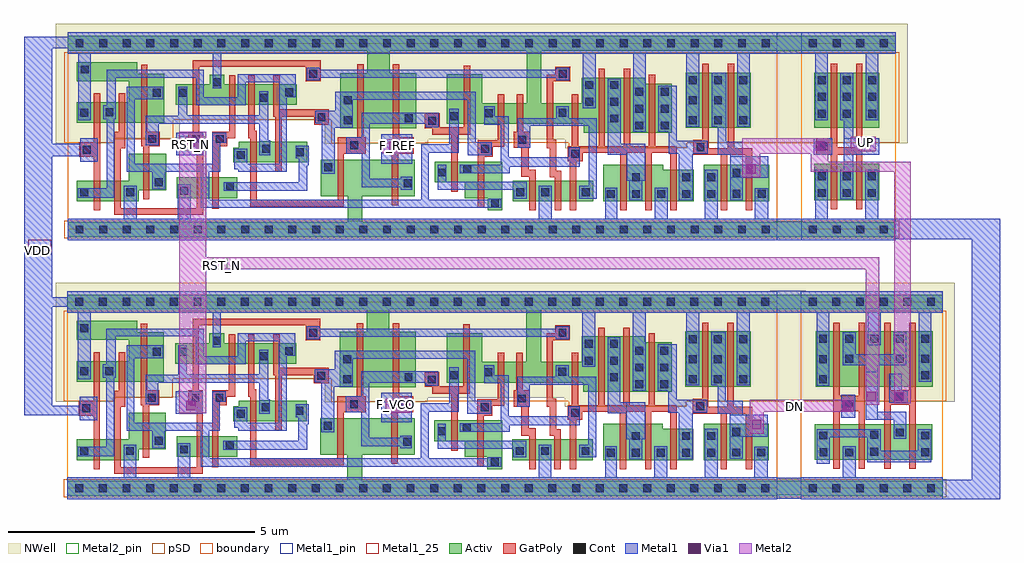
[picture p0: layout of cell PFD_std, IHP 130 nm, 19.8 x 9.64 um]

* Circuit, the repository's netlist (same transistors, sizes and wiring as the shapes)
.SUBCKT PFD_std UP F_REF F_VCO DN VDD VSS

* DFF for reference clock
  x1 net1 net2 F_REF VDD RST_N VDD VSS sg13g2_dfrbp_2

* DFF for VCO clock
  x2 DN net3 F_VCO VDD RST_N VDD VSS sg13g2_dfrbp_2

* Reset logic
  x3 RST_N net1 DN VDD VSS sg13g2_nand2_2

* Output buffer
  x4 UP net1 VDD VSS sg13g2_inv_2

.ENDS

.SUBCKT sg13g2_dfrbp_2 Q Q_N CLK D RESET_B VDD VSS
XN13 net12 net2 VSS VSS sg13_lv_nmos w=420.00n l=130.00n ng=1 ad=1.428e-13 as=1.428e-13 pd=1.52e-06 ps=1.52e-06 m=1
XN14 net5 clkneg net12 VSS sg13_lv_nmos w=420.00n l=130.00n ng=1 ad=1.428e-13 as=1.428e-13 pd=1.52e-06 ps=1.52e-06 m=1
XN15 net2 net5 net11 VSS sg13_lv_nmos w=420.00n l=130.00n ng=1 ad=1.428e-13 as=1.428e-13 pd=1.52e-06 ps=1.52e-06 m=1
XN16 net11 RESET_B VSS VSS sg13_lv_nmos w=420.00n l=130.00n ng=1 ad=1.428e-13 as=1.428e-13 pd=1.52e-06 ps=1.52e-06 m=1
XN6 Q_N net5 VSS VSS sg13_lv_nmos w=1.48u l=130.00n ng=2 ad=2.812e-13 as=5.032e-13 pd=2.24e-06 ps=4.32e-06 m=1
XN0 Db D net10 VSS sg13_lv_nmos w=420.00n l=130.00n ng=1 ad=1.428e-13 as=1.428e-13 pd=1.52e-06 ps=1.52e-06 m=1
XN1 net10 RESET_B VSS VSS sg13_lv_nmos w=420.00n l=130.00n ng=1 ad=1.428e-13 as=1.428e-13 pd=1.52e-06 ps=1.52e-06 m=1
XN7 Db clkneg net6 VSS sg13_lv_nmos w=420.00n l=130.00n ng=1 ad=1.428e-13 as=1.428e-13 pd=1.52e-06 ps=1.52e-06 m=1
XN8 net6 clkpos net9 VSS sg13_lv_nmos w=420.00n l=130.00n ng=1 ad=1.428e-13 as=1.428e-13 pd=1.52e-06 ps=1.52e-06 m=1
XN9 net9 net4 net8 VSS sg13_lv_nmos w=420.00n l=130.00n ng=1 ad=1.428e-13 as=1.428e-13 pd=1.52e-06 ps=1.52e-06 m=1
XN10 net8 RESET_B VSS VSS sg13_lv_nmos w=420.00n l=130.00n ng=1 ad=1.428e-13 as=1.428e-13 pd=1.52e-06 ps=1.52e-06 m=1
XN11 net4 net6 VSS VSS sg13_lv_nmos w=740.00n l=130.00n ng=1 ad=2.516e-13 as=2.516e-13 pd=2.16e-06 ps=2.16e-06 m=1
XN2 clkneg CLK VSS VSS sg13_lv_nmos w=740.00n l=130.00n ng=1 ad=2.516e-13 as=2.516e-13 pd=2.16e-06 ps=2.16e-06 m=1
XN12 net4 clkpos net5 VSS sg13_lv_nmos w=740.00n l=130.00n ng=1 ad=2.516e-13 as=2.516e-13 pd=2.16e-06 ps=2.16e-06 m=1
XN3 clkpos clkneg VSS VSS sg13_lv_nmos w=740.00n l=130.00n ng=1 ad=2.516e-13 as=2.516e-13 pd=2.16e-06 ps=2.16e-06 m=1
XN4 Q net1 VSS VSS sg13_lv_nmos w=1.48u l=130.00n ng=2 ad=2.812e-13 as=5.032e-13 pd=2.24e-06 ps=4.32e-06 m=1
XN5 net1 net5 VSS VSS sg13_lv_nmos w=640.00n l=130.00n ng=1 ad=2.176e-13 as=2.176e-13 pd=1.96e-06 ps=1.96e-06 m=1
XP14 net5 clkpos net3 VDD sg13_lv_pmos w=420.00n l=130.00n ng=1 ad=1.428e-13 as=1.428e-13 pd=1.52e-06 ps=1.52e-06 m=1
XP15 net2 net5 VDD VDD sg13_lv_pmos w=420.00n l=130.00n ng=1 ad=1.428e-13 as=1.428e-13 pd=1.52e-06 ps=1.52e-06 m=1
XP16 net2 RESET_B VDD VDD sg13_lv_pmos w=420.00n l=130.00n ng=1 ad=1.428e-13 as=1.428e-13 pd=1.52e-06 ps=1.52e-06 m=1
XP6 Q_N net5 VDD VDD sg13_lv_pmos w=2.24u l=130.00n ng=2 ad=4.256e-13 as=7.616e-13 pd=3e-06 ps=5.84e-06 m=1
XP7 Db clkpos net6 VDD sg13_lv_pmos w=420.00n l=130.00n ng=1 ad=1.428e-13 as=1.428e-13 pd=1.52e-06 ps=1.52e-06 m=1
XP0 Db RESET_B VDD VDD sg13_lv_pmos w=420.00n l=130.00n ng=1 ad=1.428e-13 as=1.428e-13 pd=1.52e-06 ps=1.52e-06 m=1
XP1 Db D VDD VDD sg13_lv_pmos w=420.00n l=130.00n ng=1 ad=1.428e-13 as=1.428e-13 pd=1.52e-06 ps=1.52e-06 m=1
XP8 net7 net4 VDD VDD sg13_lv_pmos w=420.00n l=130.00n ng=1 ad=1.428e-13 as=1.428e-13 pd=1.52e-06 ps=1.52e-06 m=1
XP9 net6 clkneg net7 VDD sg13_lv_pmos w=420.00n l=130.00n ng=1 ad=1.428e-13 as=1.428e-13 pd=1.52e-06 ps=1.52e-06 m=1
XP10 net6 RESET_B VDD VDD sg13_lv_pmos w=420.00n l=130.00n ng=1 ad=1.428e-13 as=1.428e-13 pd=1.52e-06 ps=1.52e-06 m=1
XP2 clkneg CLK VDD VDD sg13_lv_pmos w=1.12u l=130.00n ng=1 ad=3.808e-13 as=3.808e-13 pd=2.92e-06 ps=2.92e-06 m=1
XP3 clkpos clkneg VDD VDD sg13_lv_pmos w=1.12u l=130.00n ng=1 ad=3.808e-13 as=3.808e-13 pd=2.92e-06 ps=2.92e-06 m=1
XP11 net4 net6 VDD VDD sg13_lv_pmos w=1.000u l=130.00n ng=1 ad=3.4e-13 as=3.4e-13 pd=2.68e-06 ps=2.68e-06 m=1
XP12 net4 clkneg net5 VDD sg13_lv_pmos w=1.000u l=130.00n ng=1 ad=3.4e-13 as=3.4e-13 pd=2.68e-06 ps=2.68e-06 m=1
XP4 Q net1 VDD VDD sg13_lv_pmos w=2.24u l=130.00n ng=2 ad=4.256e-13 as=7.616e-13 pd=3e-06 ps=5.84e-06 m=1
XP13 net3 net2 VDD VDD sg13_lv_pmos w=420.00n l=130.00n ng=1 ad=1.428e-13 as=1.428e-13 pd=1.52e-06 ps=1.52e-06 m=1
XP5 net1 net5 VDD VDD sg13_lv_pmos w=1.000u l=130.00n ng=1 ad=3.4e-13 as=3.4e-13 pd=2.68e-06 ps=2.68e-06 m=1
.ENDS

.SUBCKT sg13g2_inv_2 Y A VDD VSS
XX1 Y A VSS VSS sg13_lv_nmos w=1.48u l=130.00n ng=2 ad=2.812e-13 as=5.032e-13 pd=2.24e-06 ps=4.32e-06 m=1
XX0 Y A VDD VDD sg13_lv_pmos w=2.24u l=130.00n ng=2 ad=4.256e-13 as=7.616e-13 pd=3e-06 ps=5.84e-06 m=1
.ENDS


.SUBCKT sg13g2_nand2_2 Y A B VDD VSS
XP1 Y B VDD VDD sg13_lv_pmos w=2.24u l=130.00n ng=2 ad=4.256e-13 as=7.616e-13 pd=3e-06 ps=5.84e-06 m=1
XP0 Y A VDD VDD sg13_lv_pmos w=2.24u l=130.00n ng=2 ad=4.256e-13 as=7.616e-13 pd=3e-06 ps=5.84e-06 m=1
XN1 net1 B VSS VSS sg13_lv_nmos w=1.44u l=130.00n ng=2 ad=2.736e-13 as=4.896e-13 pd=2.2e-06 ps=4.24e-06 m=1
XN0 Y A net1 VSS sg13_lv_nmos w=1.44u l=130.00n ng=2 ad=2.736e-13 as=4.896e-13 pd=2.2e-06 ps=4.24e-06 m=1
.ENDS

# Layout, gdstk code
import gdstk
lib = gdstk.Library(unit=1e-6, precision=1e-09)
def R(c, l, rs):  # rectangles x0, y0, x1, y1
    for r in rs: c.add(gdstk.rectangle(r[:2], r[2:], *l))
def A(c, l, x, y, w, h, nx, ny, dx, dy):  # array of equal rectangles
    R(c, l, [(x+i*dx, y+j*dy, x+i*dx+w, y+j*dy+h) for i in range(nx) for j in range(ny)])
def P(c, l, *ps):  # polygons
    for p in ps: c.add(gdstk.Polygon(p, *l))
Activ = (1, 0)
GatPoly = (5, 0)
Cont = (6, 0)
Metal1 = (8, 0)
Metal1_pin = (8, 2)
Metal1_25 = (8, 25)
Metal2 = (10, 0)
Metal2_pin = (10, 2)
pSD = (14, 0)
Via1 = (19, 0)
NWell = (31, 0)
boundary = (189, 4)

sg13g2_dfrbp_2 = lib.new_cell('sg13g2_dfrbp_2')
R(sg13g2_dfrbp_2, Activ, [(0,-0.15,14.4,0.15), (9.03,0.57,10.66,0.99), (12.91,0.57,14.23,1.31), (2.215,0.635,3.445,1.055), (12.535,2.06,13.86,3.18)])
P(sg13g2_dfrbp_2, Activ, [(10.47,1.96),(10.47,2.145),(7.695,2.145),(7.695,3.145),(8.415,3.145),(8.415,2.565),(9.31,2.565),(9.31,3.63),(0,3.63),(0,3.93),(14.4,3.93),(14.4,3.63),(9.61,3.63),(9.61,2.565),(10.43,2.565),(10.43,3.08),(11.715,3.08),(11.715,2.96),(12.26,2.96),(12.26,1.96)],
  [(10.87,0.57),(10.87,1.31),(12.08,1.31),(12.08,1.21),(12.7,1.21),(12.7,0.57)],
  [(8.52,0.39),(8.52,0.635),(8.06,0.635),(8.06,0.955),(7.445,0.955),(7.445,1.375),(8.82,1.375),(8.82,0.39)],
  [(5.53,2.05),(5.53,3.17),(6.075,3.17),(6.075,3.63),(6.53,3.63),(6.53,3.17),(7.07,3.17),(7.07,2.05)],
  [(5.68,0.15),(5.68,0.675),(5.135,0.675),(5.135,1.415),(7.045,1.415),(7.045,0.675),(5.98,0.675),(5.98,0.15)],
  [(3.365,1.36),(3.365,1.66),(3.475,1.66),(3.475,1.78),(3.905,1.78),(3.905,1.79),(4.145,1.79),(4.145,1.78),(4.86,1.78),(4.86,1.36)],
  [(2.19,2.525),(2.19,2.945),(2.88,2.945),(2.88,3.14),(3.18,3.14),(3.18,2.945),(4.645,2.945),(4.645,2.525)],
  [(0.19,0.57),(0.19,0.99),(1.245,0.99),(1.245,1.535),(2,1.535),(2,0.795),(1.445,0.795),(1.445,0.57)],
  [(0.19,2.16),(0.19,2.58),(1.24,2.58),(1.24,3.01),(0.19,3.01),(0.19,3.395),(1.415,3.395),(1.415,3.16),(1.96,3.16),(1.96,2.16)])
P(sg13g2_dfrbp_2, GatPoly, [(9.88,0.39),(9.88,1.06),(9.785,1.06),(9.785,1.65),(9.72,1.65),(9.72,3.14),(9.895,3.14),(9.895,3.305),(10.195,3.305),(10.195,3.005),(9.85,3.005),(9.85,1.815),(9.915,1.815),(9.915,1.195),(10.01,1.195),(10.01,0.39)],
  [(8.32,0.445),(8.32,1.805),(8.73,1.805),(8.73,2.745),(8.86,2.745),(8.86,1.675),(8.62,1.675),(8.62,1.475),(8.45,1.475),(8.45,0.445)],
  [(13.25,0.39),(13.25,1.515),(12.69,1.515),(12.69,1.815),(12.875,1.815),(12.875,3.36),(13.005,3.36),(13.005,1.65),(13.39,1.65),(13.39,3.36),(13.52,3.36),(13.52,1.65),(13.89,1.65),(13.89,0.39),(13.76,0.39),(13.76,1.515),(13.38,1.515),(13.38,0.39)],
  [(9.37,0.39),(9.37,1.065),(9.205,1.065),(9.205,1.655),(9.055,1.655),(9.055,1.985),(9.11,1.985),(9.11,2.745),(9.24,2.745),(9.24,1.985),(9.385,1.985),(9.385,1.655),(9.355,1.655),(9.355,1.215),(9.5,1.215),(9.5,0.39)],
  [(7.785,0.765),(7.785,1.92),(7.4,1.92),(7.4,2.055),(7.245,2.055),(7.245,2.355),(7.545,2.355),(7.545,2.07),(8.035,2.07),(8.035,3.325),(8.165,3.325),(8.165,1.92),(7.915,1.92),(7.915,0.765)],
  [(10.19,0.39),(10.19,1.385),(10.15,1.385),(10.15,1.685),(10.23,1.685),(10.23,2.745),(10.36,2.745),(10.36,1.685),(10.77,1.685),(10.77,3.26),(10.9,3.26),(10.9,1.685),(11.28,1.685),(11.28,3.26),(11.41,3.26),(11.41,1.685),(11.79,1.685),(11.79,3.14),(11.92,3.14),(11.92,1.685),(12.36,1.685),(12.36,0.39),(12.23,0.39),(12.23,1.555),(11.85,1.555),(11.85,0.39),(11.72,0.39),(11.72,1.555),(11.34,1.555),(11.34,0.39),(11.21,0.39),(11.21,1.555),(10.45,1.555),(10.45,1.385),(10.32,1.385),(10.32,0.39)],
  [(6.575,0.495),(6.575,1.69),(6.6,1.69),(6.6,3.35),(6.73,3.35),(6.73,1.87),(7.02,1.87),(7.02,1.54),(6.705,1.54),(6.705,0.495)],
  [(3.705,0.465),(3.705,1.855),(3.665,1.855),(3.665,3.125),(3.795,3.125),(3.795,2.005),(3.835,2.005),(3.835,0.605),(5.475,0.605),(5.475,1.87),(5.875,1.87),(5.875,3.35),(6.005,3.35),(6.005,1.87),(6.05,1.87),(6.05,1.54),(5.605,1.54),(5.605,0.465)],
  [(4.215,1.18),(4.215,2.29),(4.175,2.29),(4.175,3.125),(4.305,3.125),(4.305,2.44),(5.3,2.44),(5.3,2.125),(5,2.125),(5,2.29),(4.345,2.29),(4.345,1.18)],
  [(2.935,0.425),(2.935,1.985),(3.275,1.985),(3.275,3.125),(3.405,3.125),(3.405,1.855),(3.235,1.855),(3.235,1.685),(3.065,1.685),(3.065,0.425)],
  [(0.95,0.295),(0.95,1.98),(1.04,1.98),(1.04,2.76),(1.17,2.76),(1.17,1.65),(1.08,1.65),(1.08,0.43),(2.62,0.43),(2.62,1.685),(2.45,1.685),(2.45,1.985),(2.54,1.985),(2.54,3.435),(5.135,3.435),(5.135,3.005),(4.835,3.005),(4.835,3.305),(2.67,3.305),(2.67,1.985),(2.75,1.985),(2.75,0.295)],
  [(1.53,0.615),(1.53,1.685),(1.49,1.685),(1.49,3.34),(1.62,3.34),(1.62,1.985),(1.865,1.985),(1.865,1.685),(1.66,1.685),(1.66,0.615)],
  [(0.53,0.39),(0.53,1.47),(0.235,1.47),(0.235,1.77),(0.53,1.77),(0.53,2.76),(0.66,2.76),(0.66,0.39)])
A(sg13g2_dfrbp_2, Cont, 0.16, -0.08, 0.16, 0.16, 30, 2, 0.48, 3.78)
A(sg13g2_dfrbp_2, Cont, 10.94, 0.64, 0.16, 0.16, 5, 1, 0.51, 0)
A(sg13g2_dfrbp_2, Cont, 11.52, 2.03, 0.16, 0.16, 1, 3, 0, 0.34)
A(sg13g2_dfrbp_2, Cont, 12.03, 2.03, 0.16, 0.16, 1, 3, 0, 0.34)
A(sg13g2_dfrbp_2, Cont, 12.605, 2.135, 0.16, 0.16, 1, 3, 0, 0.405)
A(sg13g2_dfrbp_2, Cont, 13.115, 2.135, 0.16, 0.16, 1, 3, 0, 0.405)
A(sg13g2_dfrbp_2, Cont, 13.63, 2.135, 0.16, 0.16, 1, 3, 0, 0.405)
A(sg13g2_dfrbp_2, Cont, 11.01, 2.17, 0.16, 0.16, 1, 3, 0, 0.34)
R(sg13g2_dfrbp_2, Cont, [(8.59,0.46,8.75,0.62), (13.49,0.645,13.65,0.805), (14,0.645,14.16,0.805), (0.26,0.675,0.42,0.835), (1.19,0.675,1.35,0.835), (9.1,0.675,9.26,0.835), (9.61,0.675,9.77,0.835), (10.43,0.675,10.59,0.835), (2.285,0.705,2.445,0.865), (3.215,0.795,3.375,0.955), (6.815,0.86,6.975,1.02), (1.77,0.88,1.93,1.04), (11.45,0.98,11.61,1.14), (12.47,0.98,12.63,1.14), (12.98,0.98,13.14,1.14), (13.49,1.07,13.65,1.23), (7.515,1.075,7.675,1.235), (8.025,1.145,8.185,1.305), (5.205,1.185,5.365,1.345), (3.435,1.43,3.595,1.59), (10.22,1.455,10.38,1.615), (4.63,1.49,4.79,1.65), (0.305,1.54,0.465,1.7), (3.945,1.56,4.105,1.72), (8.39,1.56,8.55,1.72), (12.76,1.585,12.92,1.745), (5.735,1.625,5.895,1.785), (6.775,1.625,6.935,1.785), (9.14,1.74,9.3,1.9), (1.635,1.755,1.795,1.915), (2.52,1.755,2.68,1.915), (3.005,1.755,3.165,1.915), (7.315,2.125,7.475,2.285), (5.6,2.135,5.76,2.295), (6.84,2.175,7,2.335), (5.07,2.2,5.23,2.36), (7.765,2.215,7.925,2.375), (8.46,2.275,8.62,2.435), (9.96,2.285,10.12,2.445), (0.26,2.29,0.42,2.45), (0.77,2.295,0.93,2.455), (10.5,2.51,10.66,2.67), (5.6,2.54,5.76,2.7), (3.905,2.595,4.065,2.755), (1.73,2.69,1.89,2.85), (2.26,2.69,2.42,2.85), (4.415,2.705,4.575,2.865), (10.5,2.85,10.66,3.01), (2.95,2.91,3.11,3.07), (4.905,3.075,5.065,3.235), (9.965,3.075,10.125,3.235), (0.265,3.165,0.425,3.325)])
R(sg13g2_dfrbp_2, Metal1, [(6.365,1.335,6.99,1.935), (0.255,1.375,0.61,1.855), (2.2,1.51,2.75,1.965)])
P(sg13g2_dfrbp_2, Metal1, [(13.44,0.595),(13.44,1.515),(13.19,1.515),(13.19,2.085),(13.065,2.085),(13.065,3.175),(13.36,3.175),(13.36,1.775),(13.7,1.775),(13.7,1.49),(14.21,1.49),(14.21,1.045),(13.7,1.045),(13.7,0.595)],
  [(0.21,0.645),(0.21,0.84),(0.79,0.84),(0.79,2.24),(0.72,2.24),(0.72,2.52),(0.79,2.52),(0.79,3.24),(2.765,3.24),(2.765,2.68),(3.455,2.68),(3.455,3.145),(4.625,3.145),(4.625,2.685),(4.45,2.685),(4.45,1.17),(3.465,1.17),(3.465,1.225),(3.385,1.225),(3.385,1.64),(3.645,1.64),(3.645,1.33),(4.29,1.33),(4.29,2.985),(3.615,2.985),(3.615,2.52),(2.605,2.52),(2.605,3.08),(0.98,3.08),(0.98,2.24),(0.95,2.24),(0.95,0.645)],
  [(4.855,3.025),(4.855,3.285),(5.115,3.285),(5.115,3.235),(9.91,3.235),(9.91,3.285),(10.18,3.285),(10.18,3.025),(9.91,3.025),(9.91,3.075),(5.115,3.075),(5.115,3.025)],
  [(6.755,0.81),(6.755,0.855),(5.965,0.855),(5.965,1.54),(5.65,1.54),(5.65,1.87),(5.965,1.87),(5.965,2.37),(7.525,2.37),(7.525,2.075),(7.265,2.075),(7.265,2.145),(6.125,2.145),(6.125,1.025),(6.755,1.025),(6.755,1.07),(6.99,1.07),(6.99,0.81)],
  [(0,-0.22),(0,0.22),(1.14,0.22),(1.14,0.885),(1.4,0.885),(1.4,0.22),(2.235,0.22),(2.235,0.915),(2.495,0.915),(2.495,0.22),(9.56,0.22),(9.56,0.885),(9.82,0.885),(9.82,0.22),(10.91,0.22),(10.91,0.85),(11.15,0.85),(11.15,0.22),(11.91,0.22),(11.91,0.85),(12.17,0.85),(12.17,0.22),(12.93,0.22),(12.93,1.21),(13.19,1.21),(13.19,0.22),(13.935,0.22),(13.935,0.84),(14.21,0.84),(14.21,0.22),(14.4,0.22),(14.4,-0.22)],
  [(2.705,0.44),(2.705,1.17),(1.98,1.17),(1.98,0.815),(1.72,0.815),(1.72,1.17),(1.2,1.17),(1.2,2.9),(1.94,2.9),(1.94,2.64),(1.36,2.64),(1.36,1.33),(2.935,1.33),(2.935,1.965),(3.215,1.965),(3.215,1.755),(3.095,1.755),(3.095,1.17),(2.875,1.17),(2.875,0.605),(7.17,0.605),(7.17,1.725),(7.745,1.725),(7.745,2.45),(7.935,2.45),(7.935,1.555),(7.33,1.555),(7.33,0.605),(8.54,0.605),(8.54,0.625),(8.8,0.625),(8.8,0.44)],
  [(11.47,1.98),(11.47,3.56),(10.71,3.56),(10.71,2.46),(10.45,2.46),(10.45,3.56),(3.115,3.56),(3.115,2.86),(2.945,2.86),(2.945,3.56),(0.47,3.56),(0.47,2.215),(0.215,2.215),(0.215,3.56),(0,3.56),(0,4),(14.4,4),(14.4,3.56),(13.84,3.56),(13.84,2.085),(13.58,2.085),(13.58,3.56),(12.815,3.56),(12.815,2.085),(12.555,2.085),(12.555,3.56),(11.73,3.56),(11.73,1.98)],
  [(12.4,0.59),(12.4,1.535),(12.19,1.535),(12.19,1.98),(11.98,1.98),(11.98,2.92),(12.36,2.92),(12.36,1.795),(12.985,1.795),(12.985,1.535),(12.685,1.535),(12.685,0.59)],
  [(11.395,0.59),(11.395,0.99),(11.34,0.99),(11.34,1.52),(10.96,1.52),(10.96,3.06),(11.22,3.06),(11.22,1.74),(11.72,1.74),(11.72,0.99),(11.66,0.99),(11.66,0.59)],
  [(10.38,0.625),(10.38,0.885),(10.57,0.885),(10.57,2.1),(9.385,2.1),(9.385,1.655),(9.13,1.655),(9.13,2.26),(9.91,2.26),(9.91,2.495),(10.17,2.495),(10.17,2.26),(10.73,2.26),(10.73,0.625)],
  [(7.96,1.145),(7.96,1.315),(8.79,1.315),(8.79,2.125),(8.455,2.125),(8.455,2.5),(8.66,2.5),(8.66,2.295),(8.95,2.295),(8.95,1.465),(10.165,1.465),(10.165,1.665),(10.39,1.665),(10.39,1.275),(8.97,1.275),(8.97,1.145)],
  [(9.05,0.625),(9.05,0.805),(7.51,0.805),(7.51,1.31),(7.68,1.31),(7.68,0.965),(9.31,0.965),(9.31,0.625)],
  [(5.155,1.135),(5.155,2.15),(5.02,2.15),(5.02,2.41),(5.425,2.41),(5.425,2.79),(8.275,2.79),(8.275,1.77),(8.6,1.77),(8.6,1.51),(8.115,1.51),(8.115,2.63),(5.785,2.63),(5.785,2.06),(5.415,2.06),(5.415,1.135)],
  [(3.165,0.785),(3.165,0.96),(4.685,0.96),(4.685,1.44),(4.63,1.44),(4.63,1.7),(4.895,1.7),(4.895,1.3),(4.865,1.3),(4.865,0.785)],
  [(3.89,1.51),(3.89,2.145),(1.845,2.145),(1.845,1.705),(1.585,1.705),(1.585,2.305),(2.245,2.305),(2.245,2.9),(2.425,2.9),(2.425,2.315),(3.89,2.315),(3.89,2.805),(4.075,2.805),(4.075,1.81),(4.11,1.81),(4.11,1.51)])
R(sg13g2_dfrbp_2, Metal1_pin, [(0,-0.22,14.4,0.22), (11.34,0.99,11.72,1.74), (13.44,1.045,14.21,1.49), (6.365,1.335,6.99,1.935), (0.255,1.375,0.61,1.855), (2.2,1.51,2.75,1.965), (0,3.56,14.4,4)])
R(sg13g2_dfrbp_2, pSD, [(-0.07,-0.18,14.47,0.18)])
P(sg13g2_dfrbp_2, pSD, [(10.17,1.66),(10.17,1.76),(7.245,1.76),(7.245,1.75),(5.35,1.75),(5.35,2.225),(2.14,2.225),(2.14,1.835),(0.945,1.835),(0.945,1.76),(-0.07,1.76),(-0.07,3.6),(14.47,3.6),(14.47,1.76),(12.56,1.76),(12.56,1.66)])
P(sg13g2_dfrbp_2, NWell, [(10.095,1.65),(10.095,1.835),(7.315,1.835),(7.315,1.74),(5.22,1.74),(5.22,2.215),(2.27,2.215),(2.27,1.85),(0.935,1.85),(0.935,1.75),(-0.24,1.75),(-0.24,4.17),(14.64,4.17),(14.64,1.75),(12.57,1.75),(12.57,1.65)])
R(sg13g2_dfrbp_2, boundary, [(0,0,14.4,3.78)])
sg13g2_dfrbp_2.add(gdstk.Label('CLK', (6.69,1.655), layer=8, texttype=25))
sg13g2_dfrbp_2.add(gdstk.Label('VSS', (6.77,0), layer=8, texttype=25))
sg13g2_dfrbp_2.add(gdstk.Label('D', (0.325,1.53), layer=8, texttype=25))
sg13g2_dfrbp_2.add(gdstk.Label('Q_N', (11.56,1.295), layer=8, texttype=25))
sg13g2_dfrbp_2.add(gdstk.Label('Q', (13.98,1.265), layer=8, texttype=25))
sg13g2_dfrbp_2.add(gdstk.Label('VDD', (2.085,3.79), layer=8, texttype=25))
sg13g2_dfrbp_2.add(gdstk.Label('RESET_B', (2.385,1.73), layer=8, texttype=25))

sg13g2_inv_2 = lib.new_cell('sg13g2_inv_2')
R(sg13g2_inv_2, Activ, [(0,-0.15,1.92,0.15), (0.265,0.59,1.585,1.33), (0.265,2.06,1.59,3.18), (0,3.63,1.92,3.93)])
P(sg13g2_inv_2, GatPoly, [(0.605,0.41),(0.605,1.52),(0.305,1.52),(0.305,1.85),(0.605,1.85),(0.605,3.36),(0.735,3.36),(0.735,1.67),(1.115,1.67),(1.115,3.36),(1.245,3.36),(1.245,0.41),(1.115,0.41),(1.115,1.52),(0.735,1.52),(0.735,0.41)])
A(sg13g2_inv_2, Cont, 0.335, 0.66, 0.16, 0.16, 3, 2, 0.51, 0.34)
A(sg13g2_inv_2, Cont, 0.335, 2.27, 0.16, 0.16, 1, 3, 0, 0.34)
A(sg13g2_inv_2, Cont, 0.845, 2.27, 0.16, 0.16, 1, 3, 0, 0.34)
A(sg13g2_inv_2, Cont, 1.36, 2.27, 0.16, 0.16, 1, 3, 0, 0.34)
R(sg13g2_inv_2, Cont, [(0.16,-0.08,0.32,0.08), (0.16,-0.08,0.32,0.08), (0.64,-0.08,0.8,0.08), (0.64,-0.08,0.8,0.08), (1.12,-0.08,1.28,0.08), (1.12,-0.08,1.28,0.08), (1.6,-0.08,1.76,0.08), (1.6,-0.08,1.76,0.08), (0.39,1.605,0.55,1.765), (0.16,3.7,0.32,3.86), (0.16,3.7,0.32,3.86), (0.64,3.7,0.8,3.86), (0.64,3.7,0.8,3.86), (1.12,3.7,1.28,3.86), (1.12,3.7,1.28,3.86), (1.6,3.7,1.76,3.86), (1.6,3.7,1.76,3.86)])
R(sg13g2_inv_2, Metal1, [(0.255,1.52,0.635,1.85)])
P(sg13g2_inv_2, Metal1, [(0.285,2.22),(0.285,3.56),(0,3.56),(0,4),(1.92,4),(1.92,3.56),(1.57,3.56),(1.57,2.22),(1.31,2.22),(1.31,3.56),(0.545,3.56),(0.545,2.22)],
  [(0,-0.22),(0,0.22),(0.285,0.22),(0.285,1.21),(0.545,1.21),(0.545,0.22),(1.305,0.22),(1.305,1.21),(1.565,1.21),(1.565,0.22),(1.92,0.22),(1.92,-0.22)],
  [(0.795,0.61),(0.795,1.21),(0.87,1.21),(0.87,2.22),(0.795,2.22),(0.795,3.18),(1.055,3.18),(1.055,1.85),(1.59,1.85),(1.59,1.52),(1.055,1.52),(1.055,0.61)])
R(sg13g2_inv_2, Metal1_pin, [(0,-0.22,1.92,0.22), (0.255,1.52,0.635,1.85), (0.87,1.52,1.59,1.85), (0,3.56,1.92,4)])
R(sg13g2_inv_2, pSD, [(-0.07,-0.18,1.99,0.18), (-0.07,1.76,1.99,3.6)])
R(sg13g2_inv_2, NWell, [(-0.24,1.75,2.16,4.17)])
R(sg13g2_inv_2, boundary, [(0,0,1.92,3.78)])
sg13g2_inv_2.add(gdstk.Label('VSS', (0.89,0), layer=8, texttype=25))
sg13g2_inv_2.add(gdstk.Label('VDD', (0.935,3.785), layer=8, texttype=25))
sg13g2_inv_2.add(gdstk.Label('Y', (1.44,1.68), layer=8, texttype=25))
sg13g2_inv_2.add(gdstk.Label('A', (0.48,1.68), layer=8, texttype=25))

sg13g2_nand2_2 = lib.new_cell('sg13g2_nand2_2')
R(sg13g2_nand2_2, Activ, [(0,-0.15,2.88,0.15), (0.285,0.575,2.67,1.295), (0.3,2.06,2.68,3.18), (0,3.63,2.88,3.93)])
P(sg13g2_nand2_2, GatPoly, [(0.66,0.395),(0.66,3.36),(0.79,3.36),(0.79,1.875),(1.17,1.875),(1.17,3.36),(1.3,3.36),(1.3,0.395),(1.17,0.395),(1.17,1.565),(0.79,1.565),(0.79,0.395)],
  [(1.69,0.395),(1.69,3.36),(1.82,3.36),(1.82,1.99),(2.2,1.99),(2.2,3.36),(2.33,3.36),(2.33,0.395),(2.2,0.395),(2.2,1.69),(1.82,1.69),(1.82,0.395)])
A(sg13g2_nand2_2, Cont, 1.6, -0.08, 0.16, 0.16, 3, 2, 0.48, 3.78)
A(sg13g2_nand2_2, Cont, 0.37, 2.13, 0.16, 0.16, 1, 3, 0, 0.41)
R(sg13g2_nand2_2, Cont, [(0.16,-0.08,0.32,0.08), (0.16,-0.08,0.32,0.08), (0.64,-0.08,0.8,0.08), (0.64,-0.08,0.8,0.08), (1.12,-0.08,1.28,0.08), (1.12,-0.08,1.28,0.08), (1.6,-0.08,1.76,0.08), (0.9,0.645,1.06,0.805), (0.38,0.65,0.54,0.81), (2.44,0.65,2.6,0.81), (1.41,0.66,1.57,0.82), (0.375,0.99,0.535,1.15), (2.44,0.99,2.6,1.15), (1.41,1.005,1.57,1.165), (1.93,1.05,2.09,1.21), (0.9,1.64,1.06,1.8), (1.93,1.76,2.09,1.92), (2.44,2.21,2.6,2.37), (0.9,2.55,1.06,2.71), (1.93,2.55,2.09,2.71), (2.44,2.55,2.6,2.71), (0.9,2.95,1.06,3.11), (1.41,2.95,1.57,3.11), (1.93,2.95,2.09,3.11), (2.44,2.95,2.6,3.11), (0.16,3.7,0.32,3.86), (0.16,3.7,0.32,3.86), (0.64,3.7,0.8,3.86), (0.64,3.7,0.8,3.86), (1.12,3.7,1.28,3.86), (1.12,3.7,1.28,3.86), (1.6,3.7,1.76,3.86)])
R(sg13g2_nand2_2, Metal1, [(0.82,1.435,1.1,1.9)])
P(sg13g2_nand2_2, Metal1, [(0.32,2.08),(0.32,3.56),(0,3.56),(0,4),(2.88,4),(2.88,3.56),(2.65,3.56),(2.65,2.16),(2.39,2.16),(2.39,3.56),(1.62,3.56),(1.62,2.9),(1.36,2.9),(1.36,3.56),(0.58,3.56),(0.58,2.08)],
  [(1.79,1.73),(1.79,2.32),(2.05,2.32),(2.05,1.98),(2.17,1.98),(2.17,1.73)],
  [(1.88,1),(1.88,1.39),(1.32,1.39),(1.32,2.5),(0.85,2.5),(0.85,3.16),(1.11,3.16),(1.11,2.72),(1.88,2.72),(1.88,3.16),(2.14,3.16),(2.14,2.5),(1.56,2.5),(1.56,1.55),(2.14,1.55),(2.14,1)],
  [(0.325,0.5),(0.325,1.2),(1.62,1.2),(1.62,0.76),(2.37,0.76),(2.37,1.2),(2.65,1.2),(2.65,0.53),(1.35,0.53),(1.35,1.035),(0.585,1.035),(0.585,0.5)],
  [(0,-0.22),(0,0.22),(0.85,0.22),(0.85,0.855),(1.11,0.855),(1.11,0.22),(2.88,0.22),(2.88,-0.22)])
R(sg13g2_nand2_2, Metal1_pin, [(0,-0.22,2.88,0.22), (1.32,1.39,1.56,2.36), (0.82,1.435,1.1,1.9), (1.79,1.73,2.05,2.32), (0,3.56,2.88,4)])
R(sg13g2_nand2_2, pSD, [(-0.07,-0.18,2.95,0.18), (-0.07,1.76,2.95,3.6)])
R(sg13g2_nand2_2, NWell, [(-0.24,1.75,3.12,4.17)])
R(sg13g2_nand2_2, boundary, [(0,0,2.88,3.78)])
sg13g2_nand2_2.add(gdstk.Label('Y', (1.44,2.1), layer=8, texttype=25))
sg13g2_nand2_2.add(gdstk.Label('VDD', (1.37,3.78), layer=8, texttype=25))
sg13g2_nand2_2.add(gdstk.Label('A', (1.92,2.1), layer=8, texttype=25))
sg13g2_nand2_2.add(gdstk.Label('VSS', (1.445,-0.02), layer=8, texttype=25))
sg13g2_nand2_2.add(gdstk.Label('B', (0.98,1.655), layer=8, texttype=25))

pfd_std = lib.new_cell('PFD_std')
R(pfd_std, Activ, [(13.585,-5.315,14.125,-5.015), (13.59,-1.54,14.13,-1.24), (13.6,-0.065,14.14,0.235), (13.595,3.71,14.135,4.01)])
R(pfd_std, Metal1, [(16.82,-5.39,17.585,-4.995), (17.585,-5.39,18.155,0.3), (13.555,-5.385,14.2,-4.96), (-1.645,-3.69,-0.215,-3.495), (-1.645,-3.495,-1.075,3.99), (13.495,-1.605,14.21,-1.165), (-1.075,-1.485,-0.34,-1.3), (13.57,-0.135,14.215,0.3), (15.925,-0.115,17.585,0.3), (-1.075,1.565,-0.215,1.815), (13.5,3.645,14.215,4.085), (-1.075,3.755,-0.315,3.99)])
R(pfd_std, Metal1_pin, [(-1.56,-0.42,-1.09,-0.13)])
R(pfd_std, Metal1_25, [(-1.56,-0.42,-1.09,-0.13)])
R(pfd_std, Metal2, [(13.075,-4.065,13.365,-3.37), (1.505,-3.65,2.05,2.06), (5.69,-3.64,6.19,-3.35), (13.075,-3.62,15.19,-3.37), (15.435,-3.48,15.71,-0.48), (16.005,-3.445,16.34,1.25), (2.05,-0.725,15.435,-0.48), (12.93,1.14,13.295,1.615), (14.32,1.25,14.675,1.935), (14.65,1.25,16.34,1.455), (12.93,1.615,14.32,1.935), (5.62,1.625,6.12,1.915), (15.13,1.67,15.63,1.96)])
R(pfd_std, Metal2_pin, [(5.69,-3.64,6.19,-3.35), (13.88,-3.613,14.115,-3.383), (2.18,-0.725,2.48,-0.48), (5.62,1.625,6.12,1.915), (15.13,1.67,15.63,1.96), (1.525,1.68,2.025,1.97)])
R(pfd_std, pSD, [(13.66,-5.35,14.06,-4.99), (13.67,-3.415,14.07,-1.565), (13.675,-0.1,14.075,0.26), (13.675,1.835,14.075,3.685)])
R(pfd_std, Via1, [(13.12,-3.975,13.31,-3.785), (14.95,-3.595,15.14,-3.405), (1.65,-3.59,1.84,-3.4), (5.805,-3.555,5.995,-3.365), (16.01,-3.41,16.2,-3.22), (15.45,-3.405,15.64,-3.215), (13.005,1.215,13.195,1.405), (5.76,1.67,5.95,1.86), (14.42,1.68,14.61,1.87), (15.345,1.745,15.535,1.935), (1.63,1.755,1.82,1.945)])
pfd_std.add(gdstk.Reference(sg13g2_dfrbp_2, (-0.76,0.08)))
pfd_std.add(gdstk.Reference(sg13g2_dfrbp_2, (-0.765,-5.17)))
pfd_std.add(gdstk.Reference(sg13g2_inv_2, (14.12,0.08)))
pfd_std.add(gdstk.Reference(sg13g2_nand2_2, (14.115,-5.17)))
pfd_std.add(gdstk.Label('VDD', (-1.375,-0.34), layer=8, texttype=25))
pfd_std.add(gdstk.Label('RST_N', (1.73,1.805), layer=10, texttype=25))
pfd_std.add(gdstk.Label('RST_N', (2.37,-0.65), layer=10, texttype=25))
pfd_std.add(gdstk.Label('UP', (15.425,1.835), layer=10, texttype=25))
pfd_std.add(gdstk.Label('F_VCO', (5.9,-3.47), layer=10, texttype=25))
pfd_std.add(gdstk.Label('F_REF', (5.925,1.78), layer=10, texttype=25))
pfd_std.add(gdstk.Label('DN', (13.985,-3.51), layer=10, texttype=25))

lib.write_gds('PFD_std.gds')
